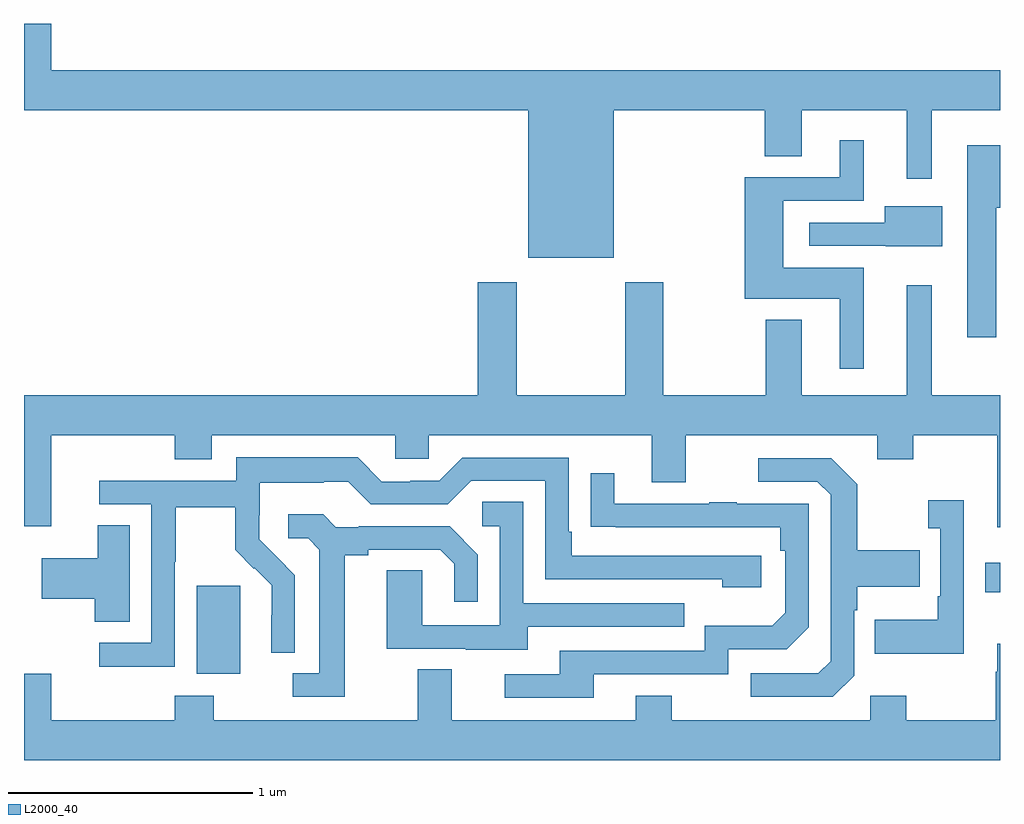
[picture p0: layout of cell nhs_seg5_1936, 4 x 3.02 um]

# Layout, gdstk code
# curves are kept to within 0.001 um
import gdstk
lib = gdstk.Library(unit=1e-6, precision=1e-09)
def R(c, l, rs):  # rectangles x0, y0, x1, y1
    for r in rs: c.add(gdstk.rectangle(r[:2], r[2:], *l))
def P(c, l, *ps):  # polygons
    for p in ps: c.add(gdstk.Polygon(p, *l))
L2000_40 = (2000, 40)

nhs_seg5_1936 = lib.new_cell('nhs_seg5_1936')
R(nhs_seg5_1936, L2000_40, [(225.707,883.754,225.886,884.115), (228.939,884.087,229,884.209)])
P(nhs_seg5_1936, L2000_40, [(227.416,886.064),(228.035,886.064),(228.035,885.874),(228.187,885.874),(228.187,886.064),(228.617,886.064),(228.617,885.783),(228.721,885.783),(228.721,886.064),(229,886.064),(229,886.228),(225.112,886.228),(225.112,886.417),(225,886.417),(225,886.064),(227.066,886.064),(227.066,885.458),(227.416,885.458)],
  [(228.442,885.418),(228.112,885.418),(228.112,885.693),(228.442,885.693),(228.442,885.94),(228.344,885.94),(228.344,885.789),(227.954,885.789),(227.954,885.29),(228.344,885.29),(228.344,885.003),(228.442,885.003)],
  [(228.985,885.663),(229,885.663),(229,885.919),(228.866,885.919),(228.866,885.132),(228.985,885.132)],
  [(228.763,885.67),(228.527,885.67),(228.527,885.603),(228.219,885.603),(228.219,885.507),(228.531,885.507),(228.531,885.506),(228.763,885.506)],
  [(229,884.896),(228.721,884.896),(228.721,885.346),(228.617,885.346),(228.617,884.896),(228.187,884.896),(228.187,885.205),(228.04,885.205),(228.04,884.896),(227.619,884.896),(227.619,885.358),(227.464,885.358),(227.464,884.896),(227.019,884.896),(227.019,885.358),(226.859,885.358),(226.859,884.896),(225,884.896),(225,884.358),(225.112,884.358),(225.112,884.732),(225.617,884.732),(225.617,884.633),(225.769,884.633),(225.769,884.732),(226.521,884.732),(226.521,884.634),(226.659,884.634),(226.659,884.732),(227.573,884.732),(227.573,884.538),(227.713,884.538),(227.713,884.732),(228.497,884.732),(228.497,884.633),(228.645,884.633),(228.645,884.732),(228.989,884.732),(228.989,884.355),(229,884.355)],
  [(225.618,884.212),(225.621,884.212),(225.621,884.436),(225.865,884.436),(225.865,884.261),(225.942,884.184),(225.945,884.187),(226.016,884.117),(226.016,883.994),(226.014,883.994),(226.014,883.84),(226.11,883.84),(226.11,884.158),(225.964,884.306),(225.964,884.403),(225.966,884.403),(225.966,884.537),(226.229,884.537),(226.229,884.541),(226.329,884.541),(226.422,884.448),(226.737,884.448),(226.833,884.544),(227.136,884.544),(227.136,884.142),(227.861,884.142),(227.861,884.108),(228.022,884.108),(228.022,884.238),(227.245,884.238),(227.245,884.335),(227.232,884.335),(227.232,884.64),(226.797,884.64),(226.701,884.544),(226.583,884.544),(226.583,884.541),(226.467,884.541),(226.367,884.641),(225.87,884.641),(225.87,884.544),(225.309,884.544),(225.309,884.448),(225.522,884.448),(225.522,883.881),(225.309,883.881),(225.309,883.783),(225.618,883.783)],
  [(228.402,883.746),(228.402,884.015),(228.415,884.015),(228.415,884.111),(228.671,884.111),(228.671,884.259),(228.415,884.259),(228.415,884.531),(228.309,884.637),(228.009,884.637),(228.009,884.541),(228.252,884.541),(228.306,884.487),(228.306,883.806),(228.255,883.755),(227.979,883.755),(227.979,883.659),(228.315,883.659)],
  [(227.335,883.752),(227.886,883.752),(227.886,883.854),(228.126,883.854),(228.216,883.944),(228.216,884.451),(227.921,884.451),(227.921,884.456),(227.809,884.456),(227.809,884.451),(227.419,884.451),(227.419,884.575),(227.323,884.575),(227.323,884.356),(228.1,884.355),(228.1,884.258),(228.12,884.258),(228.12,884.004),(228.067,883.951),(227.79,883.951),(227.79,883.848),(227.195,883.848),(227.195,883.752),(226.971,883.752),(226.971,883.656),(227.335,883.656)],
  [(228.852,884.464),(228.705,884.464),(228.705,884.351),(228.756,884.351),(228.756,884.071),(228.744,884.071),(228.744,883.975),(228.487,883.975),(228.487,883.835),(228.852,883.835)],
  [(227.065,883.947),(227.705,883.947),(227.705,884.043),(227.046,884.043),(227.046,884.459),(226.878,884.459),(226.878,884.358),(226.95,884.358),(226.95,883.953),(226.632,883.953),(226.632,884.177),(226.487,884.177),(226.487,883.857),(226.811,883.857),(226.811,883.853),(227.065,883.853)],
  [(226.315,884.24),(226.411,884.24),(226.411,884.262),(226.706,884.262),(226.763,884.205),(226.763,884.049),(226.86,884.049),(226.86,884.242),(226.744,884.358),(226.372,884.358),(226.372,884.355),(226.278,884.355),(226.226,884.407),(226.083,884.407),(226.083,884.31),(226.164,884.31),(226.211,884.263),(226.211,883.755),(226.101,883.755),(226.101,883.659),(226.315,883.659)],
  [(225.433,884.363),(225.302,884.363),(225.302,884.227),(225.072,884.227),(225.072,884.062),(225.29,884.062),(225.29,883.966),(225.433,883.966)],
  [(229,883.876),(228.989,883.876),(228.989,883.763),(228.982,883.763),(228.982,883.564),(228.615,883.564),(228.615,883.663),(228.468,883.663),(228.468,883.564),(227.655,883.564),(227.655,883.663),(227.507,883.663),(227.507,883.564),(226.753,883.564),(226.753,883.772),(226.613,883.772),(226.613,883.564),(225.777,883.564),(225.777,883.663),(225.617,883.663),(225.617,883.564),(225.112,883.564),(225.112,883.753),(225,883.753),(225,883.4),(229,883.4)])

lib.write_gds('nhs_seg5_1936.gds')
